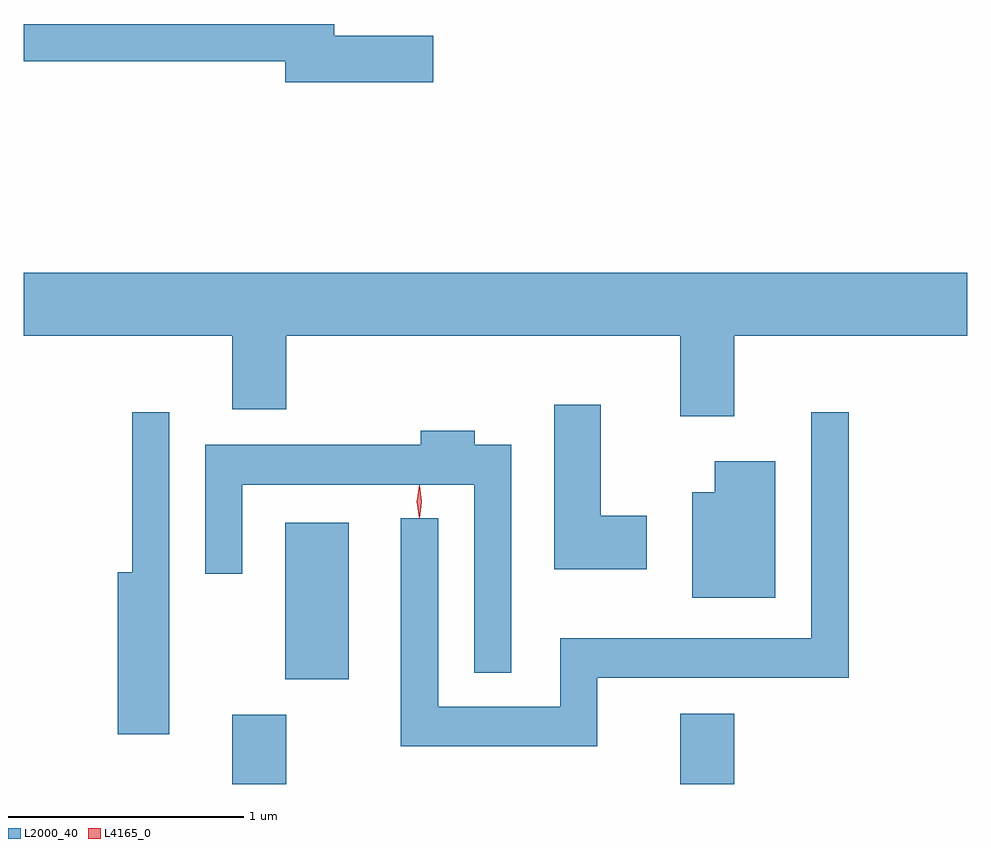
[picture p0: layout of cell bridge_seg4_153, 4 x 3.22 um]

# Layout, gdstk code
import gdstk
lib = gdstk.Library(unit=1e-6, precision=1e-09)
def R(c, l, rs):  # rectangles x0, y0, x1, y1
    for r in rs: c.add(gdstk.rectangle(r[:2], r[2:], *l))
def P(c, l, *ps):  # polygons
    for p in ps: c.add(gdstk.Polygon(p, *l))
L2000_40 = (2000, 40)
L4165_0 = (4165, 0)

bridge_seg4_153 = lib.new_cell('bridge_seg4_153')
R(bridge_seg4_153, L2000_40, [(936.171,1315.036,936.399,1315.329), (938.071,1315.036,938.299,1315.334), (936.396,1315.481,936.664,1316.144)])
P(bridge_seg4_153, L2000_40, [(937.024,1318.209),(936.604,1318.209),(936.604,1318.259),(935.287,1318.259),(935.287,1318.101),(936.396,1318.101),(936.396,1318.011),(937.024,1318.011)],
  [(938.299,1316.936),(939.287,1316.936),(939.287,1317.204),(935.287,1317.204),(935.287,1316.936),(936.171,1316.936),(936.171,1316.626),(936.399,1316.626),(936.399,1316.936),(938.071,1316.936),(938.071,1316.596),(938.299,1316.596)],
  [(937.929,1316.174),(937.734,1316.174),(937.734,1316.644),(937.536,1316.644),(937.536,1315.946),(937.929,1315.946)],
  [(935.904,1316.613),(935.746,1316.613),(935.746,1315.934),(935.686,1315.934),(935.686,1315.246),(935.904,1315.246)],
  [(937.719,1315.486),(938.784,1315.486),(938.784,1316.613),(938.626,1316.613),(938.626,1315.654),(937.561,1315.654),(937.561,1315.364),(937.044,1315.364),(937.044,1316.163),(936.886,1316.163),(936.886,1315.196),(937.719,1315.196)],
  [(937.354,1316.474),(937.199,1316.474),(937.199,1316.534),(936.971,1316.534),(936.971,1316.474),(936.056,1316.474),(936.056,1315.928),(936.214,1315.928),(936.214,1316.306),(937.196,1316.306),(937.196,1315.508),(937.354,1315.508)],
  [(938.474,1316.404),(938.216,1316.404),(938.216,1316.274),(938.121,1316.274),(938.121,1315.826),(938.474,1315.826)])
P(bridge_seg4_153, L4165_0, [(936.964,1316.164),(936.964,1316.164),(936.954,1316.234),(936.964,1316.302),(936.964,1316.303),(936.965,1316.302),(936.974,1316.234),(936.965,1316.164)],
  [(936.964,1316.167),(936.955,1316.234),(936.964,1316.3),(936.965,1316.3),(936.965,1316.3),(936.975,1316.234),(936.965,1316.167),(936.965,1316.167)])

lib.write_gds('bridge_seg4_153.gds')
